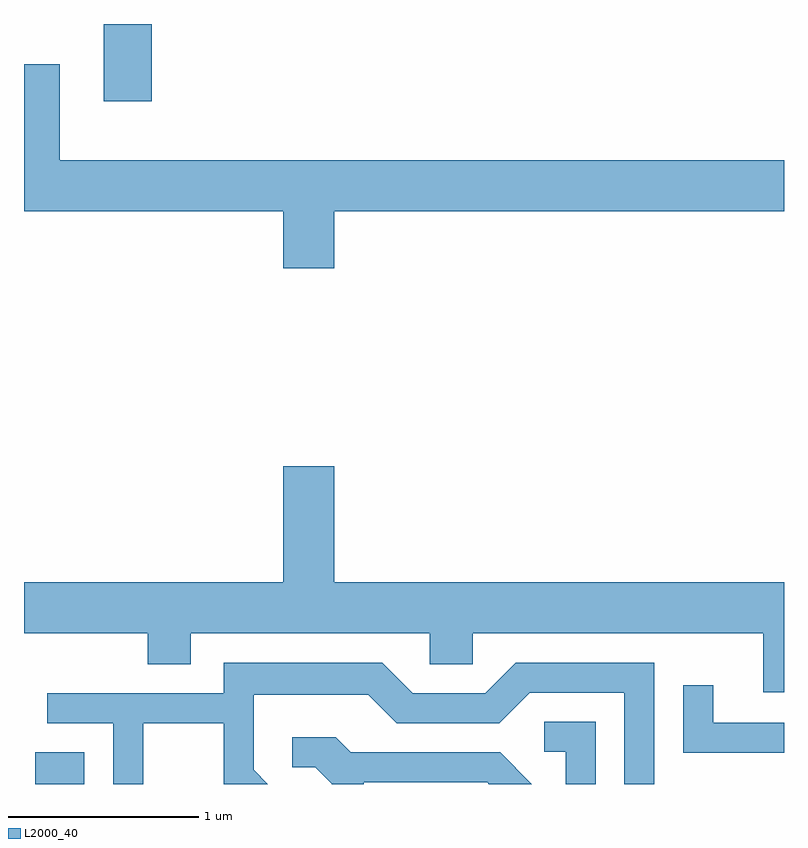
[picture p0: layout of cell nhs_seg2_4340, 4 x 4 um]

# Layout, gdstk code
import gdstk
lib = gdstk.Library(unit=1e-6, precision=1e-09)
def R(c, l, rs):  # rectangles x0, y0, x1, y1
    for r in rs: c.add(gdstk.rectangle(r[:2], r[2:], *l))
def P(c, l, *ps):  # polygons
    for p in ps: c.add(gdstk.Polygon(p, *l))
L2000_40 = (2000, 40)

nhs_seg2_4340 = lib.new_cell('nhs_seg2_4340')
R(nhs_seg2_4340, L2000_40, [(313.671,989.802,313.929,989.969), (314.031,993.396,314.284,993.802)])
P(nhs_seg2_4340, L2000_40, [(315.244,992.816),(317.611,992.816),(317.611,993.084),(313.799,993.084),(313.799,993.589),(313.611,993.589),(313.611,992.816),(314.976,992.816),(314.976,992.516),(315.244,992.516)],
  [(317.611,990.864),(315.244,990.864),(315.244,991.474),(314.976,991.474),(314.976,990.864),(313.611,990.864),(313.611,990.596),(314.261,990.596),(314.261,990.431),(314.489,990.431),(314.489,990.596),(315.746,990.596),(315.746,990.431),(315.974,990.431),(315.974,990.596),(317.501,990.596),(317.501,990.286),(317.611,990.286)],
  [(314.239,990.121),(314.661,990.121),(314.661,989.804),(314.663,989.802),(314.894,989.802),(314.819,989.877),(314.819,990.271),(315.424,990.271),(315.574,990.121),(316.112,990.121),(316.272,990.281),(316.771,990.281),(316.771,989.802),(316.929,989.802),(316.929,990.439),(316.199,990.439),(316.039,990.279),(315.657,990.279),(315.497,990.439),(314.661,990.439),(314.661,990.279),(313.733,990.279),(313.733,990.121),(314.081,990.121),(314.081,989.802),(314.239,989.802)],
  [(317.611,990.124),(317.239,990.124),(317.239,990.323),(317.081,990.323),(317.081,989.966),(317.611,989.966)],
  [(316.619,990.129),(316.348,990.129),(316.348,989.971),(316.461,989.971),(316.461,989.802),(316.619,989.802)],
  [(315.399,989.811),(316.049,989.811),(316.058,989.802),(316.284,989.802),(316.117,989.969),(315.332,989.969),(315.252,990.049),(315.023,990.049),(315.023,989.891),(315.144,989.891),(315.231,989.804),(315.231,989.802),(315.399,989.802)])

lib.write_gds('nhs_seg2_4340.gds')
